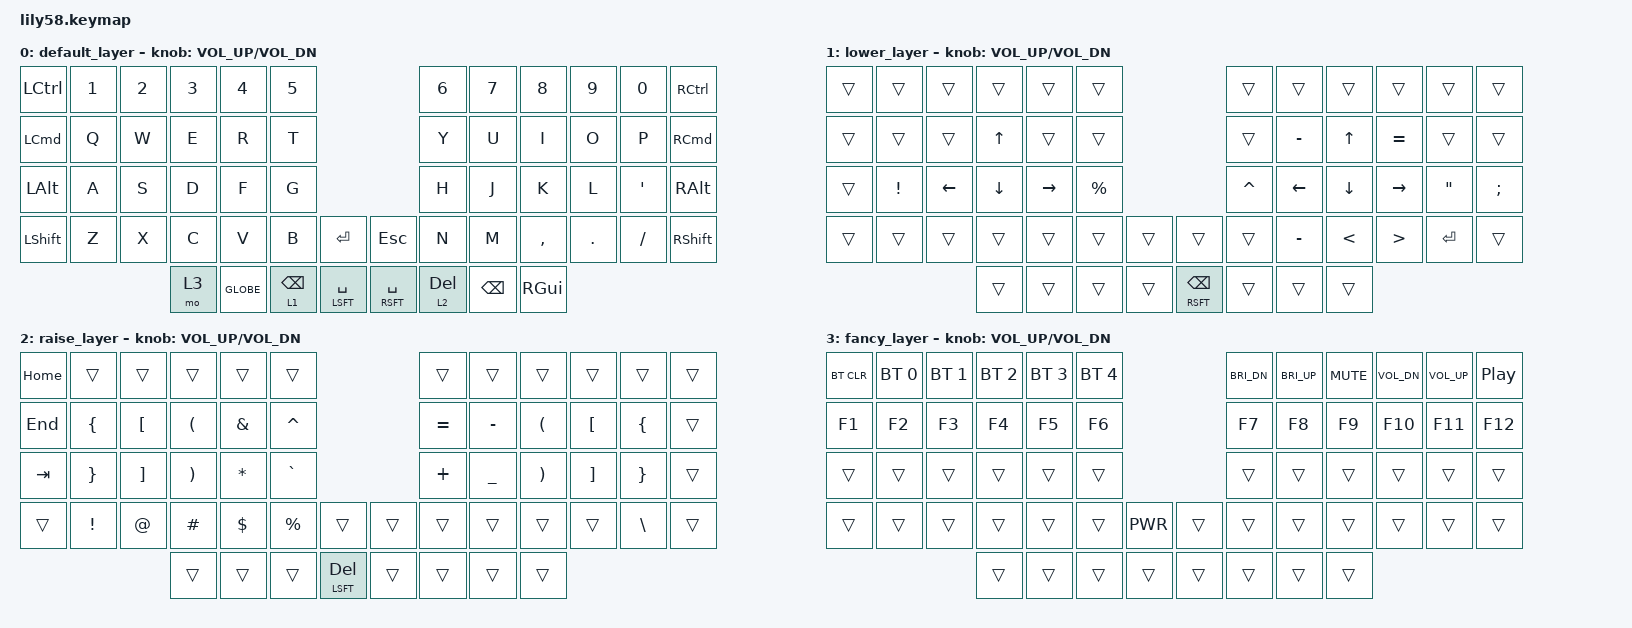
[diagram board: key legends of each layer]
/*
 * Copyright (c) 2020 The ZMK Contributors
 *
 * SPDX-License-Identifier: MIT
 */

#include <behaviors.dtsi>
#include <dt-bindings/zmk/keys.h>
#include <dt-bindings/zmk/bt.h>
#include <dt-bindings/zmk/ext_power.h>

/ {
    // tap-hold
    behaviors {
        th: mod_space {
            compatible = "zmk,behavior-hold-tap";
            #binding-cells = <2>;
            tapping-term-ms = <200>;
            quick-tap-ms = <0>;
            flavor = "tap-preferred";
            bindings = <&kp>, <&kp>;
        };
    };

    keymap {
        compatible = "zmk,keymap";

        default_layer { // Layer 0
// ------------------------------------------------------------------------------------------------------------
// |  CTRL |  1  |  2  |  3   |  4   |  5   |                   |  6   |  7    |  8    |  9   |   0   |  CTRL |
// |  CMD  |  Q  |  W  |  E   |  R   |  T   |                   |  Y   |  U    |  I    |  O   |   P   |  CMD  |
// |  OPT  |  A  |  S  |  D   |  F   |  G   |                   |  H   |  J    |  K    |  L   |   '   |  OPT  |
// | SHIFT |  Z  |  X  |  C   |  V   |  B   |  ENTER |  |  ESC  |  N   |  M    |  ,    |  .   |   /   | SHIFT |
//                     |CONFIG| GLOBE| LOWER|  SPACE |  | SPACE | RAISE| BSPC  | GUI   |
            bindings = <
&kp LCTRL &kp N1 &kp N2 &kp N3   &kp N4    &kp N5                                    &kp N6    &kp N7   &kp N8    &kp N9  &kp N0   &kp RCTRL
&kp LCMD  &kp Q  &kp W  &kp E    &kp R     &kp T                                     &kp Y     &kp U    &kp I     &kp O   &kp P    &kp RCMD
&kp LALT  &kp A  &kp S  &kp D    &kp F     &kp G                                     &kp H     &kp J    &kp K     &kp L   &kp SQT  &kp RALT
&kp LSHFT &kp Z  &kp X  &kp C    &kp V     &kp B      &kp RET         &kp ESC        &kp N     &kp M    &kp COMMA &kp DOT &kp FSLH &kp RSHFT
                        &mo 3   &kp GLOBE &lt 1 BSPC &th LSFT SPACE  &th RSFT SPACE &lt 2 DEL &kp BSPC &kp RGUI
            >;

            sensor-bindings = <&inc_dec_kp C_VOL_UP C_VOL_DN>;
        };

        lower_layer { // Layer 1
// ------------------------------------------------------------------------------------------------------------
// |       |     |     |      |      |      |                   |      |       |       |      |       |       |
// |       |     |     |  UP  |      |      |                   |      |  -    |   UP  |  =   |       |       |
// |       |  !  | LEFT| DOWN | RIGHT|  %   |                   |  ^   |  LEFT |  DOWN | RIGHT|   "   |   ;   |
// |       |     |     |      |      |      |        |  |       |      |  _    |  <    |  >   | ENTER |       |
//                     |      |      |      |XXXXXXXX|  | BSPC  |      |       |       |
            bindings = <
&trans     &trans           &trans            &trans            &trans       &trans                            &trans    &trans    &trans   &trans    &trans    &trans
&trans     &trans           &trans            &kp UP            &trans       &trans                            &trans    &kp MINUS &kp UP   &kp EQUAL &trans    &trans
&trans     &kp EXCL         &kp LEFT          &kp DOWN          &kp RIGHT    &kp PRCNT                         &kp CARET &kp LEFT  &kp DOWN &kp RIGHT &kp DQT   &kp SEMI
&trans     &trans           &trans            &trans            &trans       &trans    &trans   &trans         &trans    &kp MINUS &kp LT   &kp GT    &kp RET   &trans
                                              &trans            &trans       &trans    &trans   &th RSFT BSPC  &trans    &trans    &trans
            >;

            sensor-bindings = <&inc_dec_kp C_VOL_UP C_VOL_DN>;
        };

        raise_layer { // Layer 2
// ------------------------------------------------------------------------------------------------------------
// |  HOME |     |     |      |      |      |                   |      |       |       |      |       |       |
// |  END  |  {  |  [  |  (   |  &   |  ^   |                   |  =   |   -   |   (   |  [   |   {   |       |
// |  TAB  |  }  |  ]  |  )   |  *   |  `   |                   |  +   |   _   |   )   |  ]   |   }   |       |
// |       |  !  |  @  |  #   |  $   |  %   |        |  |       |      |       |       |      |   \   |       |
//                     |      |      |      | DELETE |  |XXXXXXX|      |       |       |
            bindings = <
&kp HOME  &trans   &trans   &trans   &trans    &trans                            &trans      &trans    &trans    &trans   &trans    &trans
&kp END   &kp LBRC &kp LBKT &kp LPAR &kp AMPS  &kp CARET                         &kp EQUAL   &kp MINUS &kp LPAR  &kp LBKT &kp LBRC  &trans
&kp TAB   &kp RBRC &kp RBKT &kp RPAR &kp ASTRK &kp GRAVE                         &kp PLUS    &kp UNDER &kp RPAR  &kp RBKT &kp RBRC  &trans
&trans    &kp EXCL &kp AT   &kp HASH &kp DLLR  &kp PRCNT &trans        &trans    &trans      &trans    &trans    &trans   &kp BSLH  &trans
                            &trans   &trans    &trans    &th LSFT DEL  &trans    &trans      &trans    &trans
            >;

            sensor-bindings = <&inc_dec_kp C_VOL_UP C_VOL_DN>;
        };

        fancy_layer { // Layer 3
// ------------------------------------------------------------------------------------------------------------
// | BTCLR | BT0 | BT1 |  BT2 |  BT3 |  BT4 |                   |BRIGTv|BRIGHT^|  MUTE | VOLv |  VOL^ |  PLAY |
// |  F1   |  F2 |  F3 |  F4  |  F5  |  F6  |                   |  F7  |  F8   |  F9   |  F10 |  F11  |  F12  |
// |       |     |     |      |      |      |                   |      |       |       |      |       |       |
// |       |     |     |      |      |      |  POWER |  |       |      |       |       |      |       |       |
//                     |XXXXXX|      |      |        |  |       |      |       |       |
            bindings = <
&bt BT_CLR &bt BT_SEL 0     &bt BT_SEL 1      &bt BT_SEL 2      &bt BT_SEL 3 &bt BT_SEL 4                    &kp C_BRI_DN &kp C_BRI_UP &kp C_MUTE &kp C_VOL_DN &kp C_VOL_UP &kp C_PLAY_PAUSE
&kp F1     &kp F2           &kp F3            &kp F4            &kp F5       &kp F6                          &kp F7       &kp F8       &kp F9     &kp F10      &kp F11      &kp F12
&trans     &trans           &trans            &trans            &trans       &trans                          &trans       &trans       &trans     &trans       &trans       &trans
&trans     &trans           &trans            &trans            &trans       &trans       &kp K_PWR   &trans &trans       &trans       &trans     &trans       &trans       &trans
                                              &trans            &trans       &trans       &trans      &trans &trans       &trans       &trans
            >;

            sensor-bindings = <&inc_dec_kp C_VOL_UP C_VOL_DN>;
        };

    };
};
